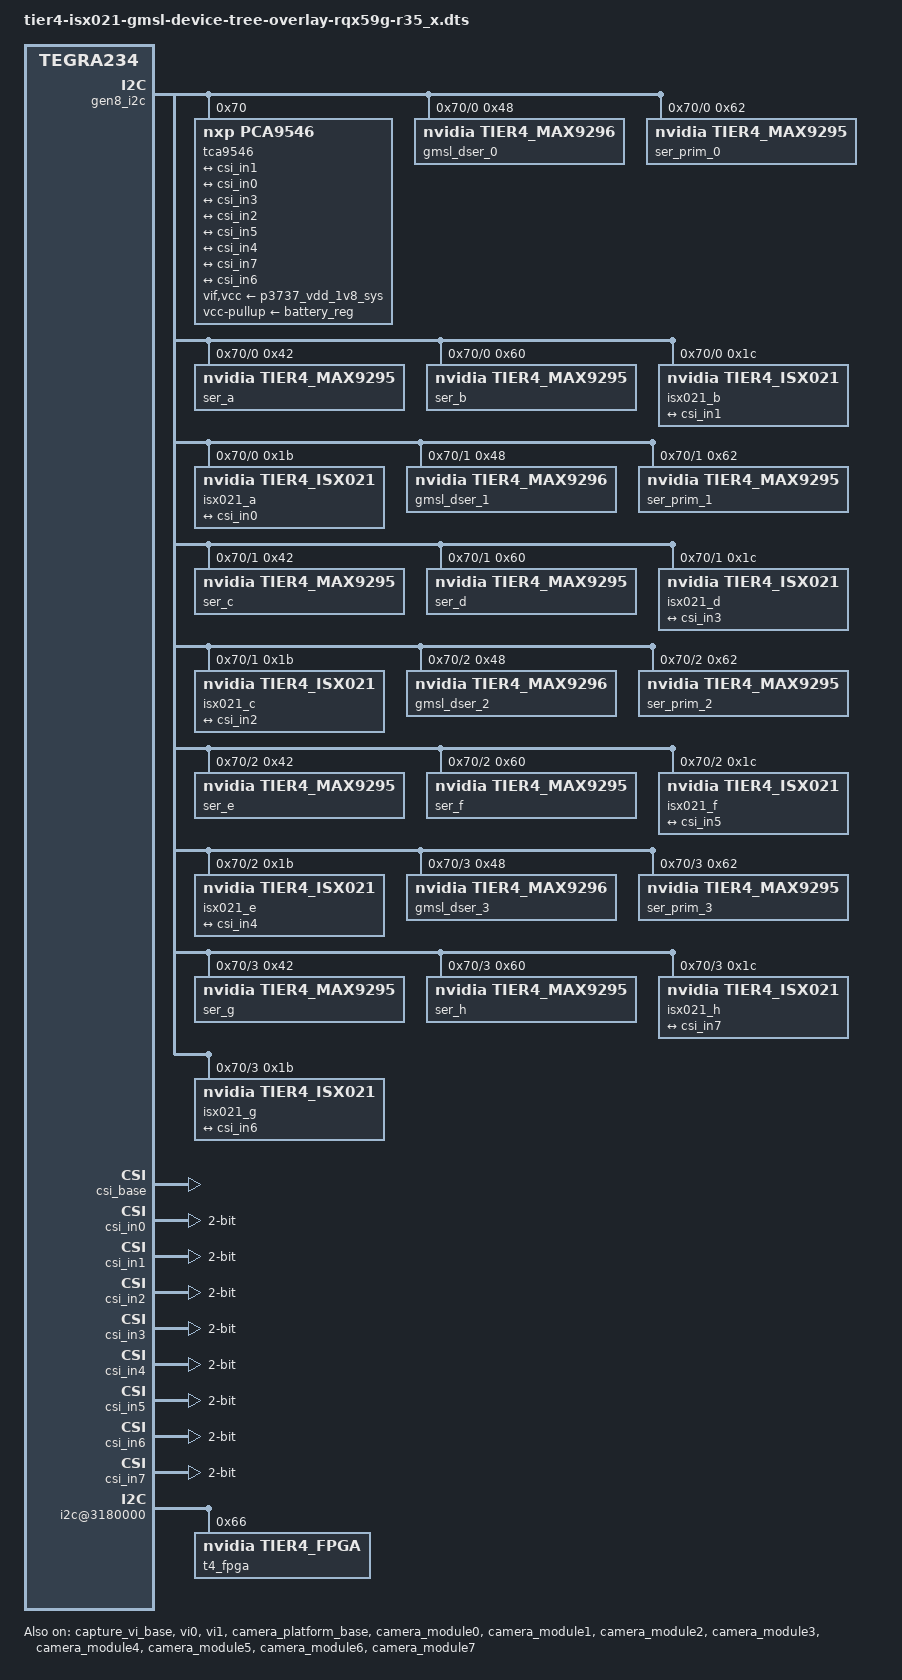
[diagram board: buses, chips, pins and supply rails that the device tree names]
/dts-v1/;
/plugin/;

 /*
 * Copyright (c) 2017-2022, NVIDIA CORPORATION.  All rights reserved.
 *
 * This program is free software; you can redistribute it and/or modify it
 * under the terms and conditions of the GNU General Public License,
 * version 2, as published by the Free Software Foundation.
 *
 * This program is distributed in the hope it will be useful, but WITHOUT
 * ANY WARRANTY; without even the implied warranty of MERCHANTABILITY or
 * FITNESS FOR A PARTICULAR PURPOSE.  See the GNU General Public License for
 * more details.
 *
 * You should have received a copy of the GNU General Public License
 * along with this program.  If not, see <http://www.gnu.org/licenses/>.
 */

#define CSI_PORT_LANES	2
#define STRING(s)	_STRING(s)
#define _STRING(s)	#s

#define ENABLE_DSER0 1
#define ENABLE_DSER1 1
#define ENABLE_DSER2 1
#define ENABLE_DSER3 1

/ {
    overlay-name = "TIERIV ISX021 GMSL2 Camera Device Tree Overlay";
    compatible = "nvidia,p3737-0000+p3701-0000", "nvidia,tegra234", "nvidia,tegra23x";
    jetson-header-name = "Jetson AGX CSI Connector";

    fragment@0 {
      target = <&gen8_i2c>; // gen8_i2c = i2c@c250000 = i2c-7
      __overlay__ {
        status = "okay";
        tca9546@70 {
          compatible = "nxp,pca9546";
          #address-cells = <1>;
          #size-cells = <0>;
          reg = <0x70>;
          skip_mux_detect = "yes";
          force_bus_start = <0x1e>;
          vif-supply = <&p3737_vdd_1v8_sys>;
          vcc-supply = <&p3737_vdd_1v8_sys>;
          vcc-pullup-supply = <&battery_reg>;

#if ENABLE_DSER0
          gmsl_mux_i2c_0: i2c@0 {
            #address-cells = <1>;
            #size-cells = <0>;
            reg = <0>;
            i2c-mux,deselect-on-exit;

            gmsl_dser_0: max9296@48 {
                status = "okay";
                compatible = "nvidia,tier4_max9296";
                reg = <0x48>;
                csi-mode = "2x4";
                max-src = <2>;
            };
            ser_prim_0: max9295_prim@62 { 
                status = "okay";
                compatible = "nvidia,tier4_max9295";
                reg = <0x62>;
                is-prim-ser;
            };
            ser_a: max9295_a@42 {
                status = "okay";
                compatible = "nvidia,tier4_max9295";
                reg = <0x42>;
                nvidia,gmsl-dser-device = <&gmsl_dser_0>;
                prim-parent = <&ser_prim_0>;
            };
            ser_b: max9295_b@60 {
                status = "okay";
                compatible = "nvidia,tier4_max9295";
                reg = <0x60>;
                nvidia,gmsl-dser-device = <&gmsl_dser_0>;
                prim-parent = <&ser_prim_0>;
            };
            
            isx021_b@1c {
                status = "okay";
                def-addr = <0x1a>;
                reg = <0x1c>;
                reg_mux = <0>;
                nvidia,gmsl-ser-device = <&ser_b>;
                nvidia,gmsl-dser-device = <&gmsl_dser_0>;
                sensor_model = "isx021";
                compatible = "nvidia,tier4_isx021";
                
                /* Define any required hw resources needed by driver */
                /* ie. clocks, io pins, power sources */
                clock-names = "extperiph1", "pllp_grtba";
                mclk = "extperiph1";
                nvidia,fpga-device  = <&t4_fpga>;

                /* Physical dimensions of sensor */
                physical_w = "15.0";
                physical_h = "12.5";

                fsync-mode = "false";

                distortion-correction = "false";

                auto-exposure = "true";

                /* Defines number of frames to be dropped by driver internally after applying */
                /* sensor crop settings. Some sensors send corrupt frames after applying */
                /* crop co-ordinates */
                post_crop_frame_drop = "0";

                /* Convert Gain to unit of dB (decibel) befor passing to kernel driver */
                use_decibel_gain = "true";

                /* enable CID_SENSOR_MODE_ID for sensor modes selection */
                use_sensor_mode_id = "true";

                mode0 {/*mode ISX021_MODE_1920X1280_CROP_30FPS*/
                    mclk_khz = "24000";
                    num_lanes = STRING(CSI_PORT_LANES);
                    tegra_sinterface = "serial_a";
                    vc_id = "1";
                    discontinuous_clk = "no";
                    dpcm_enable = "false";
                    cil_settletime = "0";
                    dynamic_pixel_bit_depth = "16";
                    csi_pixel_bit_depth = "16";
                    mode_type = "yuv";
                    pixel_phase = "uyvy";

                    active_w = "1920";
                    active_h = "1280";
                    readout_orientation = "0";
                    line_length = "2250";
                    inherent_gain = "1";

#if (CSI_PORT_LANES==2)
                    pix_clk_hz = "94500000";
#else
                    pix_clk_hz = "189000000";
#endif
                    // MIPI CSI clock needs to be 1.5GHz to support deskew
                    // MIPI CSI output data rate = 1.5Gbps = (sensor or deserializer pixel clock in hertz) * (bits per pixel) / (number of CSI lanes)
                    // 1500000000 = serdes_pix_clk_hz * csi_pixel_bit_depth / num_lanes
                    // => serdes_pix_clk_hz = 1500000000 * num_lanes / csi_pixel_bit_depth
#if (CSI_PORT_LANES==2)
                    serdes_pix_clk_hz = "187500000";
#else
                    serdes_pix_clk_hz = "375000000";
#endif

                    gain_factor = "10";
                    min_gain_val = "0";                             /* dB */
                    max_gain_val = "300";                           /* dB */
                    step_gain_val = "3";                            /* 0.3 */
                    default_gain = "0";
                    min_hdr_ratio = "1";
                    max_hdr_ratio = "1";
                    framerate_factor = "1000000";
                    min_framerate = "30000000";
                    max_framerate = "30000000";
                    step_framerate = "1";
                    default_framerate = "30000000";
                    exposure_factor = "1000000";
                    min_exp_time = "24";                            /* us 1 line */
                    max_exp_time = "33333";
                    step_exp_time = "1";
                    default_exp_time = "33333";                     /* us */
                    embedded_metadata_height = "0";
                };

                ports {
                    #address-cells = <1>;
                    #size-cells = <0>;
                    port@0 {
                        reg = <0>;
                        isx021_out1: endpoint {
                            vc-id = <1>;
                            port-index = <0>;
                            bus-width = <CSI_PORT_LANES>;
                            remote-endpoint = <&csi_in1>;
                        };
                    };
                };

                gmsl-link {
                    src-csi-port = "b";
                    dst-csi-port = "a";
                    serdes-csi-link = "b";
                    csi-mode = "1x4";
                    st-vc = <0>;
                    vc-id = <1>;
                    num-lanes = <CSI_PORT_LANES>;
                    streams = "ued-u1","yuv8";
                };
            };
            
            isx021_a@1b {
                status = "okay";
                def-addr = <0x1a>;
                reg = <0x1b>;
                reg_mux = <0>;
                nvidia,gmsl-ser-device = <&ser_a>;
                nvidia,gmsl-dser-device = <&gmsl_dser_0>;
                sensor_model = "isx021";
                compatible = "nvidia,tier4_isx021";
                
                /* Define any required hw resources needed by driver */
                /* ie. clocks, io pins, power sources */
                clock-names = "extperiph1", "pllp_grtba";
                mclk = "extperiph1";
                nvidia,fpga-device  = <&t4_fpga>;

                /* Physical dimensions of sensor */
                physical_w = "15.0";
                physical_h = "12.5";

                fsync-mode = "false";

                distortion-correction = "false";

                auto-exposure = "true";

                /* Defines number of frames to be dropped by driver internally after applying */
                /* sensor crop settings. Some sensors send corrupt frames after applying */
                /* crop co-ordinates */
                post_crop_frame_drop = "0";

                /* Convert Gain to unit of dB (decibel) befor passing to kernel driver */
                use_decibel_gain = "true";

                /* enable CID_SENSOR_MODE_ID for sensor modes selection */
                use_sensor_mode_id = "true";

                mode0 {/*mode ISX021_MODE_1920X1280_CROP_30FPS*/
                    mclk_khz = "24000";
                    num_lanes = STRING(CSI_PORT_LANES);
                    tegra_sinterface = "serial_a";
                    vc_id = "0";
                    discontinuous_clk = "no";
                    dpcm_enable = "false";
                    cil_settletime = "0";
                    dynamic_pixel_bit_depth = "16";
                    csi_pixel_bit_depth = "16";
                    mode_type = "yuv";
                    pixel_phase = "uyvy";

                    active_w = "1920";
                    active_h = "1280";
                    readout_orientation = "0";
                    line_length = "2250";
                    inherent_gain = "1";

#if (CSI_PORT_LANES==2)
                    pix_clk_hz = "94500000";
#else
                    pix_clk_hz = "189000000";
#endif
                    // MIPI CSI clock needs to be 1.5GHz to support deskew
                    // MIPI CSI output data rate = 1.5Gbps = (sensor or deserializer pixel clock in hertz) * (bits per pixel) / (number of CSI lanes)
                    // 1500000000 = serdes_pix_clk_hz * csi_pixel_bit_depth / num_lanes
                    // => serdes_pix_clk_hz = 1500000000 * num_lanes / csi_pixel_bit_depth
#if (CSI_PORT_LANES==2)
                    serdes_pix_clk_hz = "187500000";
#else
                    serdes_pix_clk_hz = "375000000";
#endif

                    gain_factor = "10";
                    min_gain_val = "0";                             /* dB */
                    max_gain_val = "300";                           /* dB */
                    step_gain_val = "3";                            /* 0.3 */
                    default_gain = "0";
                    min_hdr_ratio = "1";
                    max_hdr_ratio = "1";
                    framerate_factor = "1000000";
                    min_framerate = "30000000";
                    max_framerate = "30000000";
                    step_framerate = "1";
                    default_framerate = "30000000";
                    exposure_factor = "1000000";
                    min_exp_time = "24";                            /* us 1 line */
                    max_exp_time = "33333";
                    step_exp_time = "1";
                    default_exp_time = "33333";                     /* us */
                    embedded_metadata_height = "0";
                };

                ports {
                    #address-cells = <1>;
                    #size-cells = <0>;
                    port@0 {
                        reg = <0>;
                        isx021_out0: endpoint {
                            vc-id = <0>;
                            port-index = <0>;
                            bus-width = <CSI_PORT_LANES>;
                            remote-endpoint = <&csi_in0>;
                        };
                    };
                };

                gmsl-link {
                    src-csi-port = "b";
                    dst-csi-port = "a";
                    serdes-csi-link = "a";
                    csi-mode = "1x4";
                    st-vc = <0>;
                    vc-id = <0>;
                    num-lanes = <CSI_PORT_LANES>;
                    streams = "ued-u1","yuv8";
                };
            }; // end isx021_a@1b
          }; // gmsl_mux_i2c_0
#endif

#if ENABLE_DSER1
          gmsl_mux_i2c_1: i2c@1 {
            #address-cells = <1>;
            #size-cells = <0>;
            reg = <1>;
            i2c-mux,deselect-on-exit;

            gmsl_dser_1: max9296@48 {
                status = "okay";
                compatible = "nvidia,tier4_max9296";
                reg = <0x48>;
                csi-mode = "2x4";
                max-src = <2>;
            };
            ser_prim_1: max9295_prim@62 { 
                status = "okay";
                compatible = "nvidia,tier4_max9295";
                reg = <0x62>;
                is-prim-ser;
            };
            ser_c: max9295_a@42 {
                status = "okay";
                compatible = "nvidia,tier4_max9295";
                reg = <0x42>;
                nvidia,gmsl-dser-device = <&gmsl_dser_1>;
                prim-parent = <&ser_prim_1>;
            };
            ser_d: max9295_b@60 {
                status = "okay";
                compatible = "nvidia,tier4_max9295";
                reg = <0x60>;
                nvidia,gmsl-dser-device = <&gmsl_dser_1>;
                prim-parent = <&ser_prim_1>;
            };
            
            isx021_d@1c {
                status = "okay";
                def-addr = <0x1a>;
                reg = <0x1c>;
                reg_mux = <1>;
                nvidia,gmsl-ser-device = <&ser_d>;
                nvidia,gmsl-dser-device = <&gmsl_dser_1>;
                sensor_model = "isx021";
                compatible = "nvidia,tier4_isx021";
                
                /* Define any required hw resources needed by driver */
                /* ie. clocks, io pins, power sources */
                clock-names = "extperiph1", "pllp_grtba";
                mclk = "extperiph1";
                nvidia,fpga-device  = <&t4_fpga>;

                /* Physical dimensions of sensor */
                physical_w = "15.0";
                physical_h = "12.5";

                fsync-mode = "false";

                distortion-correction = "false";

                auto-exposure = "true";

                /* Defines number of frames to be dropped by driver internally after applying */
                /* sensor crop settings. Some sensors send corrupt frames after applying */
                /* crop co-ordinates */
                post_crop_frame_drop = "0";

                /* Convert Gain to unit of dB (decibel) befor passing to kernel driver */
                use_decibel_gain = "true";

                /* enable CID_SENSOR_MODE_ID for sensor modes selection */
                use_sensor_mode_id = "true";

                mode0 {/*mode ISX021_MODE_1920X1280_CROP_30FPS*/
                    mclk_khz = "24000";
                    num_lanes = STRING(CSI_PORT_LANES);
                    tegra_sinterface = "serial_c";
                    vc_id = "1";
                    discontinuous_clk = "no";
                    dpcm_enable = "false";
                    cil_settletime = "0";
                    dynamic_pixel_bit_depth = "16";
                    csi_pixel_bit_depth = "16";
                    mode_type = "yuv";
                    pixel_phase = "uyvy";

                    active_w = "1920";
                    active_h = "1280";
                    readout_orientation = "0";
                    line_length = "2250";
                    inherent_gain = "1";

#if (CSI_PORT_LANES==2)
                    pix_clk_hz = "94500000";
#else
                    pix_clk_hz = "189000000";
#endif
                    // MIPI CSI clock needs to be 1.5GHz to support deskew
                    // MIPI CSI output data rate = 1.5Gbps = (sensor or deserializer pixel clock in hertz) * (bits per pixel) / (number of CSI lanes)
                    // 1500000000 = serdes_pix_clk_hz * csi_pixel_bit_depth / num_lanes
                    // => serdes_pix_clk_hz = 1500000000 * num_lanes / csi_pixel_bit_depth
#if (CSI_PORT_LANES==2)
                    serdes_pix_clk_hz = "187500000";
#else
                    serdes_pix_clk_hz = "375000000";
#endif

                    gain_factor = "10";
                    min_gain_val = "0";                             /* dB */
                    max_gain_val = "300";                           /* dB */
                    step_gain_val = "3";                            /* 0.3 */
                    default_gain = "0";
                    min_hdr_ratio = "1";
                    max_hdr_ratio = "1";
                    framerate_factor = "1000000";
                    min_framerate = "30000000";
                    max_framerate = "30000000";
                    step_framerate = "1";
                    default_framerate = "30000000";
                    exposure_factor = "1000000";
                    min_exp_time = "24";                            /* us 1 line */
                    max_exp_time = "33333";
                    step_exp_time = "1";
                    default_exp_time = "33333";                     /* us */
                    embedded_metadata_height = "0";
                };

                ports {
                    #address-cells = <1>;
                    #size-cells = <0>;
                    port@0 {
                        reg = <0>;
                        isx021_out3: endpoint {
                            vc-id = <1>;
                            port-index = <0>;
                            bus-width = <CSI_PORT_LANES>;
                            remote-endpoint = <&csi_in3>;
                        };
                    };
                };

                gmsl-link {
                    src-csi-port = "b";
                    dst-csi-port = "a";
                    serdes-csi-link = "b";
                    csi-mode = "1x4";
                    st-vc = <0>;
                    vc-id = <1>;
                    num-lanes = <CSI_PORT_LANES>;
                    streams = "ued-u1","yuv8";
                };
            };
            
            isx021_c@1b {
                status = "okay";
                def-addr = <0x1a>;
                reg = <0x1b>;
                reg_mux = <1>;
                nvidia,gmsl-ser-device = <&ser_c>;
                nvidia,gmsl-dser-device = <&gmsl_dser_1>;
                sensor_model = "isx021";
                compatible = "nvidia,tier4_isx021";
                
                /* Define any required hw resources needed by driver */
                /* ie. clocks, io pins, power sources */
                clock-names = "extperiph1", "pllp_grtba";
                mclk = "extperiph1";
                nvidia,fpga-device  = <&t4_fpga>;

                /* Physical dimensions of sensor */
                physical_w = "15.0";
                physical_h = "12.5";

                fsync-mode = "false";

                distortion-correction = "false";

                auto-exposure = "true";

                /* Defines number of frames to be dropped by driver internally after applying */
                /* sensor crop settings. Some sensors send corrupt frames after applying */
                /* crop co-ordinates */
                post_crop_frame_drop = "0";

                /* Convert Gain to unit of dB (decibel) befor passing to kernel driver */
                use_decibel_gain = "true";

                /* enable CID_SENSOR_MODE_ID for sensor modes selection */
                use_sensor_mode_id = "true";

                mode0 {/*mode ISX021_MODE_1920X1280_CROP_30FPS*/
                    mclk_khz = "24000";
                    num_lanes = STRING(CSI_PORT_LANES);
                    tegra_sinterface = "serial_c";
                    vc_id = "0";
                    discontinuous_clk = "no";
                    dpcm_enable = "false";
                    cil_settletime = "0";
                    dynamic_pixel_bit_depth = "16";
                    csi_pixel_bit_depth = "16";
                    mode_type = "yuv";
                    pixel_phase = "uyvy";

                    active_w = "1920";
                    active_h = "1280";
                    readout_orientation = "0";
                    line_length = "2250";
                    inherent_gain = "1";

#if (CSI_PORT_LANES==2)
                    pix_clk_hz = "94500000";
#else
                    pix_clk_hz = "189000000";
#endif
                    // MIPI CSI clock needs to be 1.5GHz to support deskew
                    // MIPI CSI output data rate = 1.5Gbps = (sensor or deserializer pixel clock in hertz) * (bits per pixel) / (number of CSI lanes)
                    // 1500000000 = serdes_pix_clk_hz * csi_pixel_bit_depth / num_lanes
                    // => serdes_pix_clk_hz = 1500000000 * num_lanes / csi_pixel_bit_depth
#if (CSI_PORT_LANES==2)
                    serdes_pix_clk_hz = "187500000";
#else
                    serdes_pix_clk_hz = "375000000";
#endif

                    gain_factor = "10";
                    min_gain_val = "0";                             /* dB */
                    max_gain_val = "300";                           /* dB */
                    step_gain_val = "3";                            /* 0.3 */
                    default_gain = "0";
                    min_hdr_ratio = "1";
                    max_hdr_ratio = "1";
                    framerate_factor = "1000000";
                    min_framerate = "30000000";
                    max_framerate = "30000000";
                    step_framerate = "1";
                    default_framerate = "30000000";
                    exposure_factor = "1000000";
                    min_exp_time = "24";                            /* us 1 line */
                    max_exp_time = "33333";
                    step_exp_time = "1";
                    default_exp_time = "33333";                     /* us */
                    embedded_metadata_height = "0";
                };

                ports {
                    #address-cells = <1>;
                    #size-cells = <0>;
                    port@0 {
                        reg = <0>;
                        isx021_out2: endpoint {
                            vc-id = <0>;
                            port-index = <0>;
                            bus-width = <CSI_PORT_LANES>;
                            remote-endpoint = <&csi_in2>;
                        };
                    };
                };

                gmsl-link {
                    src-csi-port = "b";
                    dst-csi-port = "a";
                    serdes-csi-link = "a";
                    csi-mode = "1x4";
                    st-vc = <0>;
                    vc-id = <0>;
                    num-lanes = <CSI_PORT_LANES>;
                    streams = "ued-u1","yuv8";
                };
            }; // end isx021_c@1b
          }; // gmsl_mux_i2c_1
#endif // endif


#if ENABLE_DSER2
          gmsl_mux_i2c_2: i2c@2 {
            #address-cells = <1>;
            #size-cells = <0>;
            reg = <2>;
            i2c-mux,deselect-on-exit;

            gmsl_dser_2: max9296@48 {
                status = "okay";
                compatible = "nvidia,tier4_max9296";
                reg = <0x48>;
                csi-mode = "2x4";
                max-src = <2>;
            };
            ser_prim_2: max9295_prim@62 { 
                status = "okay";
                compatible = "nvidia,tier4_max9295";
                reg = <0x62>;
                is-prim-ser;
            };
            ser_e: max9295_a@42 {
                status = "okay";
                compatible = "nvidia,tier4_max9295";
                reg = <0x42>;
                nvidia,gmsl-dser-device = <&gmsl_dser_2>;
                prim-parent = <&ser_prim_2>;
            };
            ser_f: max9295_b@60 {
                status = "okay";
                compatible = "nvidia,tier4_max9295";
                reg = <0x60>;
                nvidia,gmsl-dser-device = <&gmsl_dser_2>;
                prim-parent = <&ser_prim_2>;
            };
            
            isx021_f@1c {
                status = "okay";
                def-addr = <0x1a>;
                reg = <0x1c>;
                reg_mux = <2>;
                nvidia,gmsl-ser-device = <&ser_f>;
                nvidia,gmsl-dser-device = <&gmsl_dser_2>;
                sensor_model = "isx021";
                compatible = "nvidia,tier4_isx021";
                
                /* Define any required hw resources needed by driver */
                /* ie. clocks, io pins, power sources */
                clock-names = "extperiph1", "pllp_grtba";
                mclk = "extperiph1";
                nvidia,fpga-device  = <&t4_fpga>;

                /* Physical dimensions of sensor */
                physical_w = "15.0";
                physical_h = "12.5";

                fsync-mode = "false";

                distortion-correction = "false";

                auto-exposure = "true";

                /* Defines number of frames to be dropped by driver internally after applying */
                /* sensor crop settings. Some sensors send corrupt frames after applying */
                /* crop co-ordinates */
                post_crop_frame_drop = "0";

                /* Convert Gain to unit of dB (decibel) befor passing to kernel driver */
                use_decibel_gain = "true";

                /* enable CID_SENSOR_MODE_ID for sensor modes selection */
                use_sensor_mode_id = "true";

                mode0 {/*mode ISX021_MODE_1920X1280_CROP_30FPS*/
                    mclk_khz = "24000";
                    num_lanes = STRING(CSI_PORT_LANES);
                    tegra_sinterface = "serial_c";
                    vc_id = "1";
                    discontinuous_clk = "no";
                    dpcm_enable = "false";
                    cil_settletime = "0";
                    dynamic_pixel_bit_depth = "16";
                    csi_pixel_bit_depth = "16";
                    mode_type = "yuv";
                    pixel_phase = "uyvy";

                    active_w = "1920";
                    active_h = "1280";
                    readout_orientation = "0";
                    line_length = "2250";
                    inherent_gain = "1";

#if (CSI_PORT_LANES==2)
                    pix_clk_hz = "94500000";
#else
                    pix_clk_hz = "189000000";
#endif
                    // MIPI CSI clock needs to be 1.5GHz to support deskew
                    // MIPI CSI output data rate = 1.5Gbps = (sensor or deserializer pixel clock in hertz) * (bits per pixel) / (number of CSI lanes)
                    // 1500000000 = serdes_pix_clk_hz * csi_pixel_bit_depth / num_lanes
                    // => serdes_pix_clk_hz = 1500000000 * num_lanes / csi_pixel_bit_depth
#if (CSI_PORT_LANES==2)
                    serdes_pix_clk_hz = "187500000";
#else
                    serdes_pix_clk_hz = "375000000";
#endif

                    gain_factor = "10";
                    min_gain_val = "0";                             /* dB */
                    max_gain_val = "300";                           /* dB */
                    step_gain_val = "3";                            /* 0.3 */
                    default_gain = "0";
                    min_hdr_ratio = "1";
                    max_hdr_ratio = "1";
                    framerate_factor = "1000000";
                    min_framerate = "30000000";
                    max_framerate = "30000000";
                    step_framerate = "1";
                    default_framerate = "30000000";
                    exposure_factor = "1000000";
                    min_exp_time = "24";                            /* us 1 line */
                    max_exp_time = "33333";
                    step_exp_time = "1";
                    default_exp_time = "33333";                     /* us */
                    embedded_metadata_height = "0";
                };

                ports {
                    #address-cells = <1>;
                    #size-cells = <0>;
                    port@0 {
                        reg = <0>;
                        isx021_out5: endpoint {
                            vc-id = <1>;
                            port-index = <0>;
                            bus-width = <CSI_PORT_LANES>;
                            remote-endpoint = <&csi_in5>;
                        };
                    };
                };

                gmsl-link {
                    src-csi-port = "b";
                    dst-csi-port = "a";
                    serdes-csi-link = "b";
                    csi-mode = "1x4";
                    st-vc = <0>;
                    vc-id = <1>;
                    num-lanes = <CSI_PORT_LANES>;
                    streams = "ued-u1","yuv8";
                };
            };
            
            isx021_e@1b {
                status = "okay";
                def-addr = <0x1a>;
                reg = <0x1b>;
                reg_mux = <2>;
                nvidia,gmsl-ser-device = <&ser_e>;
                nvidia,gmsl-dser-device = <&gmsl_dser_2>;
                sensor_model = "isx021";
                compatible = "nvidia,tier4_isx021";
                
                /* Define any required hw resources needed by driver */
                /* ie. clocks, io pins, power sources */
                clock-names = "extperiph1", "pllp_grtba";
                mclk = "extperiph1";
                nvidia,fpga-device  = <&t4_fpga>;

                /* Physical dimensions of sensor */
                physical_w = "15.0";
                physical_h = "12.5";

                fsync-mode = "false";

                distortion-correction = "false";

                auto-exposure = "true";

                /* Defines number of frames to be dropped by driver internally after applying */
                /* sensor crop settings. Some sensors send corrupt frames after applying */
                /* crop co-ordinates */
                post_crop_frame_drop = "0";

                /* Convert Gain to unit of dB (decibel) befor passing to kernel driver */
                use_decibel_gain = "true";

                /* enable CID_SENSOR_MODE_ID for sensor modes selection */
                use_sensor_mode_id = "true";

                mode0 {/*mode ISX021_MODE_1920X1280_CROP_30FPS*/
                    mclk_khz = "24000";
                    num_lanes = STRING(CSI_PORT_LANES);
                    tegra_sinterface = "serial_e";
                    vc_id = "0";
                    discontinuous_clk = "no";
                    dpcm_enable = "false";
                    cil_settletime = "0";
                    dynamic_pixel_bit_depth = "16";
                    csi_pixel_bit_depth = "16";
                    mode_type = "yuv";
                    pixel_phase = "uyvy";

                    active_w = "1920";
                    active_h = "1280";
                    readout_orientation = "0";
                    line_length = "2250";
                    inherent_gain = "1";

#if (CSI_PORT_LANES==2)
                    pix_clk_hz = "94500000";
#else
                    pix_clk_hz = "189000000";
#endif
                    // MIPI CSI clock needs to be 1.5GHz to support deskew
                    // MIPI CSI output data rate = 1.5Gbps = (sensor or deserializer pixel clock in hertz) * (bits per pixel) / (number of CSI lanes)
                    // 1500000000 = serdes_pix_clk_hz * csi_pixel_bit_depth / num_lanes
                    // => serdes_pix_clk_hz = 1500000000 * num_lanes / csi_pixel_bit_depth
#if (CSI_PORT_LANES==2)
                    serdes_pix_clk_hz = "187500000";
#else
                    serdes_pix_clk_hz = "375000000";
#endif

                    gain_factor = "10";
                    min_gain_val = "0";                             /* dB */
                    max_gain_val = "300";                           /* dB */
                    step_gain_val = "3";                            /* 0.3 */
                    default_gain = "0";
                    min_hdr_ratio = "1";
                    max_hdr_ratio = "1";
                    framerate_factor = "1000000";
                    min_framerate = "30000000";
                    max_framerate = "30000000";
                    step_framerate = "1";
                    default_framerate = "30000000";
                    exposure_factor = "1000000";
                    min_exp_time = "24";                            /* us 1 line */
                    max_exp_time = "33333";
                    step_exp_time = "1";
                    default_exp_time = "33333";                     /* us */
                    embedded_metadata_height = "0";
                };

                ports {
                    #address-cells = <1>;
                    #size-cells = <0>;
                    port@0 {
                        reg = <0>;
                        isx021_out4: endpoint {
                            vc-id = <0>;
                            port-index = <0>;
                            bus-width = <CSI_PORT_LANES>;
                            remote-endpoint = <&csi_in4>;
                        };
                    };
                };

                gmsl-link {
                    src-csi-port = "b";
                    dst-csi-port = "a";
                    serdes-csi-link = "a";
                    csi-mode = "1x4";
                    st-vc = <0>;
                    vc-id = <0>;
                    num-lanes = <CSI_PORT_LANES>;
                    streams = "ued-u1","yuv8";
                };
            }; // end isx021_e@1b
          }; // gmsl_mux_i2c_2
#endif // endif


#if ENABLE_DSER3
          gmsl_mux_i2c_3: i2c@3 {
            #address-cells = <1>;
            #size-cells = <0>;
            reg = <3>;
            i2c-mux,deselect-on-exit;

            gmsl_dser_3: max9296@48 {
                status = "okay";
                compatible = "nvidia,tier4_max9296";
                reg = <0x48>;
                csi-mode = "2x4";
                max-src = <2>;
            };
            ser_prim_3: max9295_prim@62 { 
                status = "okay";
                compatible = "nvidia,tier4_max9295";
                reg = <0x62>;
                is-prim-ser;
            };
            ser_g: max9295_a@42 {
                status = "okay";
                compatible = "nvidia,tier4_max9295";
                reg = <0x42>;
                nvidia,gmsl-dser-device = <&gmsl_dser_3>;
                prim-parent = <&ser_prim_3>;
            };
            ser_h: max9295_b@60 {
                status = "okay";
                compatible = "nvidia,tier4_max9295";
                reg = <0x60>;
                nvidia,gmsl-dser-device = <&gmsl_dser_3>;
                prim-parent = <&ser_prim_3>;
            };
            
            isx021_h@1c {
                status = "okay";
                def-addr = <0x1a>;
                reg = <0x1c>;
                reg_mux = <3>;
                nvidia,gmsl-ser-device = <&ser_h>;
                nvidia,gmsl-dser-device = <&gmsl_dser_3>;
                sensor_model = "isx021";
                compatible = "nvidia,tier4_isx021";
                
                /* Define any required hw resources needed by driver */
                /* ie. clocks, io pins, power sources */
                clock-names = "extperiph1", "pllp_grtba";
                mclk = "extperiph1";
                nvidia,fpga-device  = <&t4_fpga>;

                /* Physical dimensions of sensor */
                physical_w = "15.0";
                physical_h = "12.5";

                fsync-mode = "false";

                distortion-correction = "false";

                auto-exposure = "true";

                /* Defines number of frames to be dropped by driver internally after applying */
                /* sensor crop settings. Some sensors send corrupt frames after applying */
                /* crop co-ordinates */
                post_crop_frame_drop = "0";

                /* Convert Gain to unit of dB (decibel) befor passing to kernel driver */
                use_decibel_gain = "true";

                /* enable CID_SENSOR_MODE_ID for sensor modes selection */
                use_sensor_mode_id = "true";

                mode0 {/*mode ISX021_MODE_1920X1280_CROP_30FPS*/
                    mclk_khz = "24000";
                    num_lanes = STRING(CSI_PORT_LANES);
                    tegra_sinterface = "serial_g";
                    vc_id = "1";
                    discontinuous_clk = "no";
                    dpcm_enable = "false";
                    cil_settletime = "0";
                    dynamic_pixel_bit_depth = "16";
                    csi_pixel_bit_depth = "16";
                    mode_type = "yuv";
                    pixel_phase = "uyvy";

                    active_w = "1920";
                    active_h = "1280";
                    readout_orientation = "0";
                    line_length = "2250";
                    inherent_gain = "1";

#if (CSI_PORT_LANES==2)
                    pix_clk_hz = "94500000";
#else
                    pix_clk_hz = "189000000";
#endif
                    // MIPI CSI clock needs to be 1.5GHz to support deskew
                    // MIPI CSI output data rate = 1.5Gbps = (sensor or deserializer pixel clock in hertz) * (bits per pixel) / (number of CSI lanes)
                    // 1500000000 = serdes_pix_clk_hz * csi_pixel_bit_depth / num_lanes
                    // => serdes_pix_clk_hz = 1500000000 * num_lanes / csi_pixel_bit_depth
#if (CSI_PORT_LANES==2)
                    serdes_pix_clk_hz = "187500000";
#else
                    serdes_pix_clk_hz = "375000000";
#endif

                    gain_factor = "10";
                    min_gain_val = "0";                             /* dB */
                    max_gain_val = "300";                           /* dB */
                    step_gain_val = "3";                            /* 0.3 */
                    default_gain = "0";
                    min_hdr_ratio = "1";
                    max_hdr_ratio = "1";
                    framerate_factor = "1000000";
                    min_framerate = "30000000";
                    max_framerate = "30000000";
                    step_framerate = "1";
                    default_framerate = "30000000";
                    exposure_factor = "1000000";
                    min_exp_time = "24";                            /* us 1 line */
                    max_exp_time = "33333";
                    step_exp_time = "1";
                    default_exp_time = "33333";                     /* us */
                    embedded_metadata_height = "0";
                };

                ports {
                    #address-cells = <1>;
                    #size-cells = <0>;
                    port@0 {
                        reg = <0>;
                        isx021_out7: endpoint {
                            vc-id = <1>;
                            port-index = <0>;
                            bus-width = <CSI_PORT_LANES>;
                            remote-endpoint = <&csi_in7>;
                        };
                    };
                };

                gmsl-link {
                    src-csi-port = "b";
                    dst-csi-port = "a";
                    serdes-csi-link = "b";
                    csi-mode = "1x4";
                    st-vc = <0>;
                    vc-id = <1>;
                    num-lanes = <CSI_PORT_LANES>;
                    streams = "ued-u1","yuv8";
                };
            };
            
            isx021_g@1b {
                status = "okay";
                def-addr = <0x1a>;
                reg = <0x1b>;
                reg_mux = <3>;
                nvidia,gmsl-ser-device = <&ser_g>;
                nvidia,gmsl-dser-device = <&gmsl_dser_3>;
                sensor_model = "isx021";
                compatible = "nvidia,tier4_isx021";
                
                /* Define any required hw resources needed by driver */
                /* ie. clocks, io pins, power sources */
                clock-names = "extperiph1", "pllp_grtba";
                mclk = "extperiph1";
                nvidia,fpga-device  = <&t4_fpga>;

                /* Physical dimensions of sensor */
                physical_w = "15.0";
                physical_h = "12.5";

                fsync-mode = "false";

                distortion-correction = "false";

                auto-exposure = "true";

                /* Defines number of frames to be dropped by driver internally after applying */
                /* sensor crop settings. Some sensors send corrupt frames after applying */
                /* crop co-ordinates */
                post_crop_frame_drop = "0";

                /* Convert Gain to unit of dB (decibel) befor passing to kernel driver */
                use_decibel_gain = "true";

                /* enable CID_SENSOR_MODE_ID for sensor modes selection */
                use_sensor_mode_id = "true";

                mode0 {/*mode ISX021_MODE_1920X1280_CROP_30FPS*/
                    mclk_khz = "24000";
                    num_lanes = STRING(CSI_PORT_LANES);
                    tegra_sinterface = "serial_g";
                    vc_id = "0";
                    discontinuous_clk = "no";
                    dpcm_enable = "false";
                    cil_settletime = "0";
                    dynamic_pixel_bit_depth = "16";
                    csi_pixel_bit_depth = "16";
                    mode_type = "yuv";
                    pixel_phase = "uyvy";

                    active_w = "1920";
                    active_h = "1280";
                    readout_orientation = "0";
                    line_length = "2250";
                    inherent_gain = "1";

#if (CSI_PORT_LANES==2)
                    pix_clk_hz = "94500000";
#else
                    pix_clk_hz = "189000000";
#endif
                    // MIPI CSI clock needs to be 1.5GHz to support deskew
                    // MIPI CSI output data rate = 1.5Gbps = (sensor or deserializer pixel clock in hertz) * (bits per pixel) / (number of CSI lanes)
                    // 1500000000 = serdes_pix_clk_hz * csi_pixel_bit_depth / num_lanes
                    // => serdes_pix_clk_hz = 1500000000 * num_lanes / csi_pixel_bit_depth
#if (CSI_PORT_LANES==2)
                    serdes_pix_clk_hz = "187500000";
#else
                    serdes_pix_clk_hz = "375000000";
#endif

                    gain_factor = "10";
                    min_gain_val = "0";                             /* dB */
                    max_gain_val = "300";                           /* dB */
                    step_gain_val = "3";                            /* 0.3 */
                    default_gain = "0";
                    min_hdr_ratio = "1";
                    max_hdr_ratio = "1";
                    framerate_factor = "1000000";
                    min_framerate = "30000000";
                    max_framerate = "30000000";
                    step_framerate = "1";
                    default_framerate = "30000000";
                    exposure_factor = "1000000";
                    min_exp_time = "24";                            /* us 1 line */
                    max_exp_time = "33333";
                    step_exp_time = "1";
                    default_exp_time = "33333";                     /* us */
                    embedded_metadata_height = "0";
                };

                ports {
                    #address-cells = <1>;
                    #size-cells = <0>;
                    port@0 {
                        reg = <0>;
                        isx021_out6: endpoint {
                            vc-id = <0>;
                            port-index = <0>;
                            bus-width = <CSI_PORT_LANES>;
                            remote-endpoint = <&csi_in6>;
                        };
                    };
                };

                gmsl-link {
                    src-csi-port = "b";
                    dst-csi-port = "a";
                    serdes-csi-link = "a";
                    csi-mode = "1x4";
                    st-vc = <0>;
                    vc-id = <0>;
                    num-lanes = <CSI_PORT_LANES>;
                    streams = "ued-u1","yuv8";
                };
            }; // end isx021_g@1b
          }; // gmsl_mux_i2c_3
#endif // endif

        }; // end tca9546@70
      }; // end overlay
    }; // end fragment@0

    fragment@1 {
      target = <&csi_base>;
      __overlay__ {
        status = "okay";
      };
    };

#if ENABLE_DSER0
    fragment@2 {
      target = <&csi_in0>;
      __overlay__ {
        remote-endpoint = <&isx021_out0>;
        port-index = <0>;
        bus-width = <CSI_PORT_LANES>;
      };
    };

    fragment@3 {
      target = <&csi_in1>;
      __overlay__ {
        remote-endpoint = <&isx021_out1>;
        port-index = <0>;
        bus-width = <CSI_PORT_LANES>;
      };
    };
#endif
#if ENABLE_DSER1
    fragment@4 {
      target = <&csi_in2>;
      __overlay__ {
        remote-endpoint = <&isx021_out2>;
        port-index = <2>;
        bus-width = <CSI_PORT_LANES>;
      };
    };

    fragment@5 {
      target = <&csi_in3>;
      __overlay__ {
        remote-endpoint = <&isx021_out3>;
        port-index = <2>;
        bus-width = <CSI_PORT_LANES>;
      };
    };
#endif
#if ENABLE_DSER2
    fragment@6 {
      target = <&csi_in4>;
      __overlay__ {
        remote-endpoint = <&isx021_out4>;
        port-index = <4>;
        bus-width = <CSI_PORT_LANES>;
      };
    };

    fragment@7 {
      target = <&csi_in5>;
      __overlay__ {
        remote-endpoint = <&isx021_out5>;
        port-index = <4>;
        bus-width = <CSI_PORT_LANES>;
      };
    };
#endif
#if ENABLE_DSER3
    fragment@8 {
      target = <&csi_in6>;
      __overlay__ {
        remote-endpoint = <&isx021_out6>;
        port-index = <6>;
        bus-width = <CSI_PORT_LANES>;
      };
    };

    fragment@9 {
      target = <&csi_in7>;
      __overlay__ {
        remote-endpoint = <&isx021_out7>;
        port-index = <6>;
        bus-width = <CSI_PORT_LANES>;
      };
    };
#endif
    fragment@10 {
      target = <&capture_vi_base>;
      __overlay__ {
        status = "okay";
      };
    };

    fragment@11 {
      target = <&vi0>;
      __overlay__ {
        status = "okay";
      };
    };

    fragment@12 {
      target = <&vi1>;
      __overlay__ {
        status = "okay";
      };
    };

    fragment@13 {
      target = <&camera_platform_base>;
      __overlay__ {
        status = "okay";
        num_csi_lanes = <16>;
        // num_csi_lanes = <32>; // total number of CSI lanes when all cameras are active
        max_lane_speed = <2500000>;
        min_bits_per_pixel = <16>;
      };
    };

#if ENABLE_DSER0
    fragment@14 {
      target = <&camera_module0>;
      __overlay__ {
        status = "okay";
        badge = "tier4_isx021_rear";
        position = "rear";
        orientation = "1";
        drivernode0 {
          status = "okay";
          pcl_id = "v4l2_sensor";
          devname = "isx021 30-001b";
          proc-device-tree = "/proc/device-tree/i2c@c250000/tca9546@70/i2c@0/isx021_a@1b";
        };
      };
    }; 

    fragment@15 {
      target = <&camera_module1>;
      __overlay__ {
        status = "okay";
        badge = "tier4_isx021_front";
        position = "front";
        orientation = "1";
        drivernode0 {
          status = "okay";
          pcl_id = "v4l2_sensor";
          devname = "isx021 30-001c";
          proc-device-tree = "/proc/device-tree/i2c@c250000/tca9546@70/i2c@0/isx021_b@1c";
        };
      };
    };
#endif

#if ENABLE_DSER1
    fragment@16 {
      target = <&camera_module2>;
      __overlay__ {
        status = "okay";
        badge = "tier4_isx021_topright";
        position = "topright";
        orientation = "1";
        drivernode0 {
          status = "okay";
          pcl_id = "v4l2_sensor";
          devname = "isx021 31-001b";
          proc-device-tree = "/proc/device-tree/i2c@c250000/tca9546@70/i2c@1/isx021_c@1b";
        };
      };
    }; 

    fragment@17 {
      target = <&camera_module3>;
      __overlay__ {
        status = "okay";
        badge = "tier4_isx021_bottomright";
        position = "bottomright";
        orientation = "1";
        drivernode0 {
          status = "okay";
          pcl_id = "v4l2_sensor";
          devname = "isx021 31-001c";
          proc-device-tree = "/proc/device-tree/i2c@c250000/tca9546@70/i2c@1/isx021_d@1c";
        };
      };
    }; 
#endif

#if ENABLE_DSER2
    fragment@18 {
      target = <&camera_module4>;
      __overlay__ {
        status = "okay";
        badge = "tier4_isx021_topleft";
        position = "topleft";
        orientation = "1";
        drivernode0 {
          status = "okay";
          pcl_id = "v4l2_sensor";
          devname = "isx021 32-001b";
          proc-device-tree = "/proc/device-tree/i2c@c250000/tca9546@70/i2c@2/isx021_e@1b";
        };
      };
    }; 

    fragment@19 {
      target = <&camera_module5>;
      __overlay__ {
        status = "okay";
        badge = "tier4_isx021_centerright";
        position = "centerright";
        orientation = "1";
        drivernode0 {
          status = "okay";
          pcl_id = "v4l2_sensor";
          devname = "isx021 32-001c";
          proc-device-tree = "/proc/device-tree/i2c@c250000/tca9546@70/i2c@2/isx021_f@1c";
        };
      };
    };
#endif

#if ENABLE_DSER3
    fragment@20 {
      target = <&camera_module6>;
      __overlay__ {
        status = "okay";
        badge = "tier4_isx021_centerleft";
        position = "centerleft";
        orientation = "1";
        drivernode0 {
          status = "okay";
          pcl_id = "v4l2_sensor";
          devname = "isx021 33-001b";
          proc-device-tree = "/proc/device-tree/i2c@c250000/tca9546@70/i2c@3/isx021_g@1b";
        };
      };
    }; 

    fragment@21 {
      target = <&camera_module7>;
      __overlay__ {
        status = "okay";
        badge = "tier4_isx021_bottomleft";
        position = "bottomleft";
        orientation = "1";
        drivernode0 {
          status = "okay";
          pcl_id = "v4l2_sensor";
          devname = "isx021 33-001c";
          proc-device-tree = "/proc/device-tree/i2c@c250000/tca9546@70/i2c@3/isx021_h@1c";
        };
      };
    }; 
#endif

#if ENABLE_DSER0
    fragment@22 {
      target = <&vi_in0>;
      __overlay__ {
        vc-id = <0>;
        port-index = <0>;
        bus-width = <CSI_PORT_LANES>;
      };
    };

    fragment@23 {
      target = <&vi_in1>;
      __overlay__ {
        vc-id = <1>;
        port-index = <0>;
        bus-width = <CSI_PORT_LANES>;
      };
    };
#endif
#if ENABLE_DSER1
    fragment@24 {
      target = <&vi_in2>;
      __overlay__ {
        vc-id = <0>;
        port-index = <2>;
        bus-width = <CSI_PORT_LANES>;
      };
    };
    
    fragment@25 {
      target = <&vi_in3>;
      __overlay__ {
        vc-id = <1>;
        port-index = <2>;
        bus-width = <CSI_PORT_LANES>;
      };
    };
#endif
#if ENABLE_DSER2
    fragment@26 {
      target = <&vi_in4>;
      __overlay__ {
        vc-id = <0>;
        port-index = <4>;
        bus-width = <CSI_PORT_LANES>;
      };
    };

    fragment@27 {
      target = <&vi_in5>;
      __overlay__ {
        vc-id = <1>;
        port-index = <4>;
        bus-width = <CSI_PORT_LANES>;
      };
    };
#endif
#if ENABLE_DSER3
    fragment@28 {
      target = <&vi_in6>;
      __overlay__ {
        vc-id = <0>;
        port-index = <5>; // For the last x4 VI, stream_id=5
        bus-width = <CSI_PORT_LANES>;
      };
    };

    fragment@29 {
      target = <&vi_in7>;
      __overlay__ {
        vc-id = <1>;
        port-index = <5>; // For the last x4 VI, stream_id=5
        bus-width = <CSI_PORT_LANES>;
      };
    };
#endif

/* FPGA */

    fragment@30 {
      target-path = "/i2c@3180000";
      __overlay__ {
       t4_fpga: tier4_fpga@66 {
          compatible = "nvidia,tier4_fpga";
          reg = <0x66>;
          generate-fsync = "false";
          status = "okay";
        };
      };
    };

    fragment@31 {
      target = <&gen2_i2c>;
      __overlay__ {
        tca9546@70 {
            // Disable built-in old io board device tree
            status = "disabled";
            force_bus_start = <0x28>;
            reg = <0x70>;
            i2c@0 {
                status = "disabled";
                reg = <0>;
            };
            i2c@1 {
                status = "disabled";
                reg = <1>;
            };
            i2c@2 {
                status = "disabled";
                reg = <2>;
            };
            i2c@3 {
                status = "disabled";
                reg = <3>;
            };
        };
      };
    };
};
